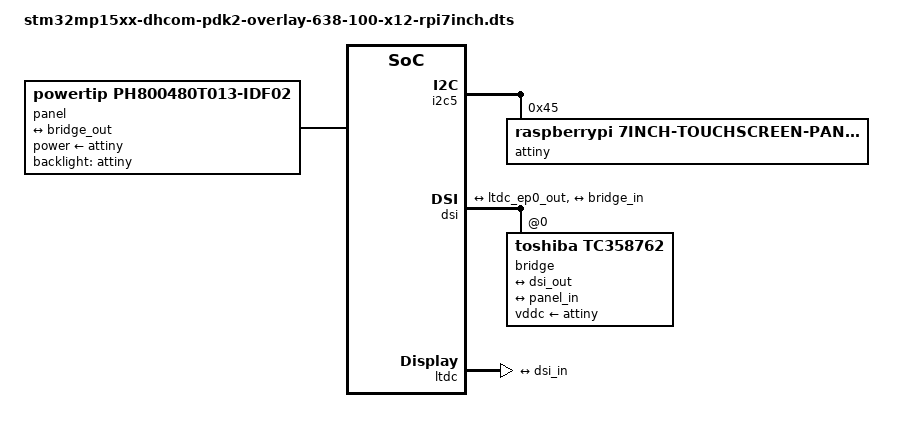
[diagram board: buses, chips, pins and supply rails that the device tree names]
// SPDX-License-Identifier: (GPL-2.0+ OR BSD-3-Clause)
/*
 * Copyright (C) 2020 Marek Vasut <marex@denx.de>
 */
#include <dt-bindings/gpio/gpio.h>

/dts-v1/;
/plugin/;

&{/} {
	#address-cells = <1>;
	#size-cells = <1>;

	panel {
		compatible = "powertip,ph800480t013-idf02";
		power-supply = <&attiny>;
		backlight = <&attiny>;

		port {
			panel_in: endpoint {
				remote-endpoint = <&bridge_out>;
			};
		};
	};
};

&i2c5 {
	#address-cells = <1>;
	#size-cells = <0>;

	touchscreen@38 {
		compatible = "edt,edt-ft5406";
		reg = <0x38>;
		/*
		 * Disabled, since the IRQ line is not on
		 * the FPC cable, so we cannot get touch
		 * IRQs unless its connected otherwise. In
		 * that case, add entry like this one and
		 * enable below.
		 *
		 * interrupt-parent = <&gpiog>;
		 * interrupts = <2 IRQ_TYPE_EDGE_FALLING>;
		 */
		status = "disabled";
	};

	attiny: regulator@45 {
		compatible = "raspberrypi,7inch-touchscreen-panel-regulator";
		reg = <0x45>;
	};
};

&dsi {
	#address-cells = <1>;
	#size-cells = <0>;
	phy-dsi-supply = <&reg18>;
	status = "okay";

	bridge@0 {
		compatible = "toshiba,tc358762";
		reg = <0>;
		vddc-supply = <&attiny>;
		#address-cells = <1>;
		#size-cells = <0>;
		status = "okay";

		port@0 {
			reg = <0>;
			bridge_in: endpoint {
				remote-endpoint = <&dsi_out>;
			};
		};

		port@1 {
			reg = <1>;
			bridge_out: endpoint {
				remote-endpoint = <&panel_in>;
			};
		};
	};

	ports {
		#address-cells = <1>;
		#size-cells = <0>;

		port@0 {
			reg = <0>;
			dsi_in: endpoint {
				remote-endpoint = <&ltdc_ep0_out>;
			};
		};

		port@1 {
			reg = <1>;
			dsi_out: endpoint {
				remote-endpoint = <&bridge_in>;
			};
		};
	};
};

&ltdc {
	status = "okay";
	port {
		#address-cells = <1>;
		#size-cells = <0>;

		ltdc_ep0_out: endpoint@0 {
			reg = <0>;
			remote-endpoint = <&dsi_in>;
		};
	};
};
